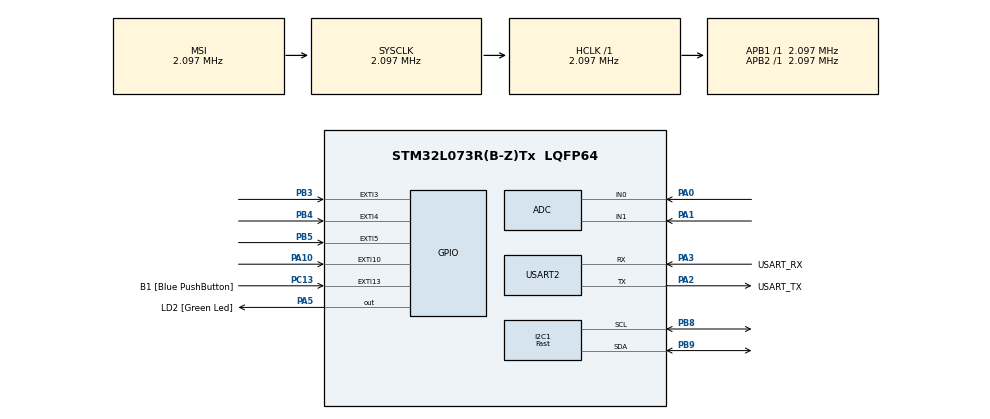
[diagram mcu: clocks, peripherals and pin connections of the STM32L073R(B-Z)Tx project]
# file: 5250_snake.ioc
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I2C1.I2C_Speed_Mode=I2C_Fast
I2C1.Timing=0x00000000
Mcu.Family=STM32L0
Mcu.Name=STM32L073R(B-Z)Tx
Mcu.Package=LQFP64
NVIC.EXTI2_3_IRQn=true\:0\:0\:false\:false\:true\:true\:true\:true
NVIC.EXTI4_15_IRQn=true\:0\:0\:false\:false\:true\:true\:true\:true
PA0.Signal=SharedAnalog_PA0
PA1.Mode=IN1
PA1.Signal=ADC_IN1
PA10.GPIO_ModeDefaultEXTI=GPIO_MODE_IT_RISING
PA10.Signal=GPXTI10
PA13.GPIO_Label=TMS
PA13.Mode=Serial_Wire
PA13.Signal=SYS_SWDIO
PA14.GPIO_Label=TCK
PA14.Mode=Serial_Wire
PA14.Signal=SYS_SWCLK
PA2.GPIO_Label=USART_TX
PA2.Mode=Asynchronous
PA2.Signal=USART2_TX
PA3.GPIO_Label=USART_RX
PA3.Mode=Asynchronous
PA3.Signal=USART2_RX
PA5.GPIO_Label=LD2 [Green Led]
PA5.Signal=GPIO_Output
PB3.Signal=GPXTI3
PB4.Signal=GPXTI4
PB5.Signal=GPXTI5
PB8.GPIO_Pu=GPIO_NOPULL
PB8.Mode=I2C
PB8.Signal=I2C1_SCL
PB9.GPIO_Pu=GPIO_NOPULL
PB9.Mode=I2C
PB9.Signal=I2C1_SDA
PC13.GPIO_Label=B1 [Blue PushButton]
PC13.GPIO_ModeDefaultEXTI=GPIO_MODE_IT_FALLING
PC13.Signal=GPXTI13
PC14-OSC32_IN.Mode=LSE-External-Oscillator
PC14-OSC32_IN.Signal=RCC_OSC32_IN
PC15-OSC32_OUT.Mode=LSE-External-Oscillator
PC15-OSC32_OUT.Signal=RCC_OSC32_OUT
PH0-OSC_IN.GPIO_Label=MCO
PH0-OSC_IN.Mode=HSE-External-Clock-Source
PH0-OSC_IN.Signal=RCC_OSC_IN
ProjectManager.HeapSize=0x200
ProjectManager.StackSize=0x400
ProjectManager.TargetToolchain=STM32CubeIDE
RCC.AHBFreq_Value=2097000
RCC.APB1Freq_Value=2097000
RCC.APB1TimFreq_Value=2097000
RCC.APB2Freq_Value=2097000
RCC.APB2TimFreq_Value=2097000
RCC.HSE_VALUE=8000000
RCC.HSI16_VALUE=16000000
RCC.HSI48_VALUE=48000000
RCC.HSI_VALUE=16000000
RCC.MSI_VALUE=2097000
RCC.SYSCLKFreq_VALUE=2097000
RCC.VCOOutputFreq_Value=48000000
SH.SharedAnalog_PA0.0=GPIO_Analog
SH.SharedAnalog_PA0.1=ADC_IN0,IN0
USART2.VirtualMode-Asynchronous=VM_ASYNC
board=NUCLEO-L073RZ

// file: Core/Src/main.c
#include "main.h"

/* USER CODE BEGIN Includes */
#include "ssd1306.h"
#include "ssd1306_tests.h"
#include <stdlib.h>
#include <stdbool.h>

ADC_HandleTypeDef hadc;

I2C_HandleTypeDef hi2c1;

UART_HandleTypeDef huart2;

void SystemClock_Config(void);
static void MX_GPIO_Init(void);
static void MX_USART2_UART_Init(void);
static void MX_I2C1_Init(void);
static void MX_ADC_Init(void);

/* USER CODE BEGIN 0 */
#define SNAKE_MAX_LENGTH 100
#define SNAKE_START_LENGTH 5
#define FOOD_SYMBOL 0xFF
#define SNAKE_SYMBOL 0xFF
#define EMPTY_SYMBOL 0x00

#define GAME_AREA_X_MIN 2
#define GAME_AREA_Y_MIN 2
#define GAME_AREA_X_MAX 126
#define GAME_AREA_Y_MAX 62
#define GRID_CELL_SIZE 4
#define GRID_WIDTH ((GAME_AREA_X_MAX - GAME_AREA_X_MIN) / GRID_CELL_SIZE)
#define GRID_HEIGHT ((GAME_AREA_Y_MAX - GAME_AREA_Y_MIN) / GRID_CELL_SIZE)

volatile int snake_direction_x = 0;
volatile int snake_direction_y = 0;

typedef struct {
    uint8_t x;
    uint8_t y;
} Point;

typedef struct {
    Point body[SNAKE_MAX_LENGTH];
    uint16_t length;
    Point direction;
} Snake;

typedef struct {
    Point position;
    bool isEaten;
} Food;

/* Function declarations */
void initializeGame(Snake* snake, Food* food);
void resetGame(Snake* snake, Food* food);
void updateGame(Snake* snake, Food* food);
void renderGame(const Snake* snake, const Food* food);
bool checkCollision(const Snake* snake);
void generateFood(Food* food, const Snake* snake);
void moveSnake(Snake* snake);
bool checkFoodCollision(Snake* snake, Food* food);
bool checkSelfCollision(const Snake* snake);

void updateGame(Snake* snake, Food* food);
/* USER CODE END 0 */

int main(void)
{
  HAL_Init();

  SystemClock_Config();
  MX_GPIO_Init();
  MX_USART2_UART_Init();
  MX_I2C1_Init();
  MX_ADC_Init();
  ssd1306_Init();
  Snake snake;
  Food food;
  initializeGame(&snake, &food);

  while (1) {
          updateGame(&snake, &food);
          if (checkCollision(&snake)) {
              // Game over logic here
              ssd1306_Fill(Black);
              ssd1306_SetCursor(10, 26);
              ssd1306_WriteString("Game Over!", Font_11x18, White);
              ssd1306_UpdateScreen();
              HAL_Delay(2000); // Wait 5 seconds before resetting
              resetGame(&snake, &food); // Reset the game
              continue;
          }
          renderGame(&snake, &food);
          HAL_Delay(200); // Game speed
      }
}

void initializeGame(Snake* snake, Food* food) {
    // Initialize the snake in the middle of the screen
    snake->length = SNAKE_START_LENGTH;
    for (int i = 0; i < snake->length; i++) {
        snake->body[i].x = SSD1306_WIDTH / 2;
        snake->body[i].y = SSD1306_HEIGHT / 2 + i;
    }
    snake->direction.x = 0;
    snake->direction.y = -1; // Moving upwards

    // Initialize the food
    generateFood(food, snake);
}

void resetGame(Snake* snake, Food* food) {
    // Reinitialize the snake in the middle of the screen
    snake->length = SNAKE_START_LENGTH;
    for (int i = 0; i < snake->length; i++) {
        snake->body[i].x = 62;
        snake->body[i].y = 30 + i;
    }
    snake->direction.x = 0;
    snake->direction.y = -1; // Moving upwards

    // Reinitialize the food
    generateFood(food, snake);
}

void updateGame(Snake* snake, Food* food) {
    // Update direction based on global variables
    if (snake_direction_x != 0 || snake_direction_y != 0) {
        snake->direction.x = snake_direction_x;
        snake->direction.y = snake_direction_y;

        // Reset direction variables
        snake_direction_x = 0;
        snake_direction_y = 0;
    }

    moveSnake(snake);
    if (checkFoodCollision(snake, food)) {
        generateFood(food, snake);
    }
}

void renderGame(const Snake* snake, const Food* food) {
    ssd1306_Fill(Black);
    ssd1306_DrawRectangle(0,0,127,63,White);

    // Render the food as a 2x2 rectangle
    ssd1306_FillRectangle(food->position.x, food->position.y, food->position.x + 3, food->position.y + 3, White);

    // Render each segment of the snake as a 2x2 rectangle
    for (int i = 0; i < snake->length; i++) {
        ssd1306_FillRectangle(snake->body[i].x, snake->body[i].y, snake->body[i].x + 3, snake->body[i].y + 3, White);
    }
    ssd1306_UpdateScreen();
}

bool checkCollision(const Snake* snake) {
    // Check for collision with walls
    Point head = snake->body[0];
    if (head.x >= SSD1306_WIDTH || head.x < 0 || head.y >= SSD1306_HEIGHT || head.y < 0) {
        return true;
    }
    // Check for collision with self
    return checkSelfCollision(snake);
}

void generateFood(Food* food, const Snake* snake) {
    bool collision;
    do {
        collision = false;

        // Generate food in grid coordinates within game area
        food->position.x = GAME_AREA_X_MIN + (rand() % GRID_WIDTH) * GRID_CELL_SIZE;
        food->position.y = GAME_AREA_Y_MIN + (rand() % GRID_HEIGHT) * GRID_CELL_SIZE;

        // Check collision with snake
        // ...
    } while (collision);

    food->isEaten = false;
}

void moveSnake(Snake* snake) {
	Point newHead = {
	        .x = snake->body[0].x + (snake->direction.x * GRID_CELL_SIZE),
	        .y = snake->body[0].y + (snake->direction.y * GRID_CELL_SIZE)
	    };

	    // Restrict new head position within game area
	    if (newHead.x < GAME_AREA_X_MIN || newHead.x >= GAME_AREA_X_MAX ||
	        newHead.y < GAME_AREA_Y_MIN || newHead.y >= GAME_AREA_Y_MAX) {
	        // Handle collision or reset game
	        // ...
	    }
    // Shift the body
    for (int i = snake->length - 1; i > 0; i--) {
        snake->body[i] = snake->body[i - 1];
    }
    // Set new head
    snake->body[0] = newHead;
}

bool checkFoodCollision(Snake* snake, Food* food) {
    if (snake->body[0].x == food->position.x && snake->body[0].y == food->position.y) {
        food->isEaten = true;
        snake->length++;
        return true;
    }
    return false;
}

bool checkSelfCollision(const Snake* snake) {
    Point head = snake->body[0];
    for (int i = 1; i < snake->length; i++) {
        if (head.x == snake->body[i].x && head.y == snake->body[i].y) {
            return true;
        }
    }
    return false;
}

void SystemClock_Config(void)
{
  RCC_OscInitTypeDef RCC_OscInitStruct = {0};
  RCC_ClkInitTypeDef RCC_ClkInitStruct = {0};
  RCC_PeriphCLKInitTypeDef PeriphClkInit = {0};

  /** Configure the main internal regulator output voltage
  */
  __HAL_PWR_VOLTAGESCALING_CONFIG(PWR_REGULATOR_VOLTAGE_SCALE1);

  /** Initializes the RCC Oscillators according to the specified parameters
  * in the RCC_OscInitTypeDef structure.
  */
  RCC_OscInitStruct.OscillatorType = RCC_OSCILLATORTYPE_MSI;
  RCC_OscInitStruct.MSIState = RCC_MSI_ON;
  RCC_OscInitStruct.MSICalibrationValue = 0;
  RCC_OscInitStruct.MSIClockRange = RCC_MSIRANGE_5;
  RCC_OscInitStruct.PLL.PLLState = RCC_PLL_NONE;
  if (HAL_RCC_OscConfig(&RCC_OscInitStruct) != HAL_OK)
  {
    Error_Handler();
  }

  /** Initializes the CPU, AHB and APB buses clocks
  */
  RCC_ClkInitStruct.ClockType = RCC_CLOCKTYPE_HCLK|RCC_CLOCKTYPE_SYSCLK
                              |RCC_CLOCKTYPE_PCLK1|RCC_CLOCKTYPE_PCLK2;
  RCC_ClkInitStruct.SYSCLKSource = RCC_SYSCLKSOURCE_MSI;
  RCC_ClkInitStruct.AHBCLKDivider = RCC_SYSCLK_DIV1;
  RCC_ClkInitStruct.APB1CLKDivider = RCC_HCLK_DIV1;
  RCC_ClkInitStruct.APB2CLKDivider = RCC_HCLK_DIV1;

  if (HAL_RCC_ClockConfig(&RCC_ClkInitStruct, FLASH_LATENCY_0) != HAL_OK)
  {
    Error_Handler();
  }
  PeriphClkInit.PeriphClockSelection = RCC_PERIPHCLK_USART2|RCC_PERIPHCLK_I2C1;
  PeriphClkInit.Usart2ClockSelection = RCC_USART2CLKSOURCE_PCLK1;
  PeriphClkInit.I2c1ClockSelection = RCC_I2C1CLKSOURCE_PCLK1;
  if (HAL_RCCEx_PeriphCLKConfig(&PeriphClkInit) != HAL_OK)
  {
    Error_Handler();
  }
}

static void MX_ADC_Init(void)
{

  ADC_ChannelConfTypeDef sConfig = {0};

  /** Configure the global features of the ADC (Clock, Resolution, Data Alignment and number of conversion)
  */
  hadc.Instance = ADC1;
  hadc.Init.OversamplingMode = DISABLE;
  hadc.Init.ClockPrescaler = ADC_CLOCK_SYNC_PCLK_DIV1;
  hadc.Init.Resolution = ADC_RESOLUTION_12B;
  hadc.Init.SamplingTime = ADC_SAMPLETIME_1CYCLE_5;
  hadc.Init.ScanConvMode = ADC_SCAN_DIRECTION_FORWARD;
  hadc.Init.DataAlign = ADC_DATAALIGN_RIGHT;
  hadc.Init.ContinuousConvMode = DISABLE;
  hadc.Init.DiscontinuousConvMode = DISABLE;
  hadc.Init.ExternalTrigConvEdge = ADC_EXTERNALTRIGCONVEDGE_NONE;
  hadc.Init.ExternalTrigConv = ADC_SOFTWARE_START;
  hadc.Init.DMAContinuousRequests = DISABLE;
  hadc.Init.EOCSelection = ADC_EOC_SINGLE_CONV;
  hadc.Init.Overrun = ADC_OVR_DATA_PRESERVED;
  hadc.Init.LowPowerAutoWait = DISABLE;
  hadc.Init.LowPowerFrequencyMode = ENABLE;
  hadc.Init.LowPowerAutoPowerOff = DISABLE;
  if (HAL_ADC_Init(&hadc) != HAL_OK)
  {
    Error_Handler();
  }

  /** Configure for the selected ADC regular channel to be converted.
  */
  sConfig.Channel = ADC_CHANNEL_0;
  sConfig.Rank = ADC_RANK_CHANNEL_NUMBER;
  if (HAL_ADC_ConfigChannel(&hadc, &sConfig) != HAL_OK)
  {
    Error_Handler();
  }

  /** Configure for the selected ADC regular channel to be converted.
  */
  sConfig.Channel = ADC_CHANNEL_1;
  if (HAL_ADC_ConfigChannel(&hadc, &sConfig) != HAL_OK)
  {
    Error_Handler();
  }

}

static void MX_I2C1_Init(void)
{

  hi2c1.Instance = I2C1;
  hi2c1.Init.Timing = 0x00000000;
  hi2c1.Init.OwnAddress1 = 0;
  hi2c1.Init.AddressingMode = I2C_ADDRESSINGMODE_7BIT;
  hi2c1.Init.DualAddressMode = I2C_DUALADDRESS_DISABLE;
  hi2c1.Init.OwnAddress2 = 0;
  hi2c1.Init.OwnAddress2Masks = I2C_OA2_NOMASK;
  hi2c1.Init.GeneralCallMode = I2C_GENERALCALL_DISABLE;
  hi2c1.Init.NoStretchMode = I2C_NOSTRETCH_DISABLE;
  if (HAL_I2C_Init(&hi2c1) != HAL_OK)
  {
    Error_Handler();
  }

  /** Configure Analogue filter
  */
  if (HAL_I2CEx_ConfigAnalogFilter(&hi2c1, I2C_ANALOGFILTER_ENABLE) != HAL_OK)
  {
    Error_Handler();
  }

  /** Configure Digital filter
  */
  if (HAL_I2CEx_ConfigDigitalFilter(&hi2c1, 0) != HAL_OK)
  {
    Error_Handler();
  }

}

static void MX_USART2_UART_Init(void)
{

  huart2.Instance = USART2;
  huart2.Init.BaudRate = 115200;
  huart2.Init.WordLength = UART_WORDLENGTH_8B;
  huart2.Init.StopBits = UART_STOPBITS_1;
  huart2.Init.Parity = UART_PARITY_NONE;
  huart2.Init.Mode = UART_MODE_TX_RX;
  huart2.Init.HwFlowCtl = UART_HWCONTROL_NONE;
  huart2.Init.OverSampling = UART_OVERSAMPLING_16;
  huart2.Init.OneBitSampling = UART_ONE_BIT_SAMPLE_DISABLE;
  huart2.AdvancedInit.AdvFeatureInit = UART_ADVFEATURE_NO_INIT;
  if (HAL_UART_Init(&huart2) != HAL_OK)
  {
    Error_Handler();
  }

}

static void MX_GPIO_Init(void)
{
  GPIO_InitTypeDef GPIO_InitStruct = {0};

  /* GPIO Ports Clock Enable */
  __HAL_RCC_GPIOC_CLK_ENABLE();
  __HAL_RCC_GPIOH_CLK_ENABLE();
  __HAL_RCC_GPIOA_CLK_ENABLE();
  __HAL_RCC_GPIOB_CLK_ENABLE();

  /*Configure GPIO pin Output Level */
  HAL_GPIO_WritePin(LD2_GPIO_Port, LD2_Pin, GPIO_PIN_RESET);

  /*Configure GPIO pin : B1_Pin */
  GPIO_InitStruct.Pin = B1_Pin;
  GPIO_InitStruct.Mode = GPIO_MODE_IT_FALLING;
  GPIO_InitStruct.Pull = GPIO_NOPULL;
  HAL_GPIO_Init(B1_GPIO_Port, &GPIO_InitStruct);

  /*Configure GPIO pin : LD2_Pin */
  GPIO_InitStruct.Pin = LD2_Pin;
  GPIO_InitStruct.Mode = GPIO_MODE_OUTPUT_PP;
  GPIO_InitStruct.Pull = GPIO_NOPULL;
  GPIO_InitStruct.Speed = GPIO_SPEED_FREQ_LOW;
  HAL_GPIO_Init(LD2_GPIO_Port, &GPIO_InitStruct);

  /*Configure GPIO pin : PA10 */
  GPIO_InitStruct.Pin = GPIO_PIN_10;
  GPIO_InitStruct.Mode = GPIO_MODE_IT_RISING;
  GPIO_InitStruct.Pull = GPIO_NOPULL;
  HAL_GPIO_Init(GPIOA, &GPIO_InitStruct);

  /*Configure GPIO pins : PB3 PB4 PB5 */
  GPIO_InitStruct.Pin = GPIO_PIN_3|GPIO_PIN_4|GPIO_PIN_5;
  GPIO_InitStruct.Mode = GPIO_MODE_IT_RISING;
  GPIO_InitStruct.Pull = GPIO_NOPULL;
  HAL_GPIO_Init(GPIOB, &GPIO_InitStruct);

  /* EXTI interrupt init*/
  HAL_NVIC_SetPriority(EXTI2_3_IRQn, 0, 0);
  HAL_NVIC_EnableIRQ(EXTI2_3_IRQn);

  HAL_NVIC_SetPriority(EXTI4_15_IRQn, 0, 0);
  HAL_NVIC_EnableIRQ(EXTI4_15_IRQn);

}

/* USER CODE BEGIN 4 */

void EXTI2_3_IRQHandler(void)
{
    if (__HAL_GPIO_EXTI_GET_IT(GPIO_PIN_3) != RESET) {
            __HAL_GPIO_EXTI_CLEAR_IT(GPIO_PIN_3);

       snake_direction_x = 1; // Right
       snake_direction_y = 0;
    }
}

void EXTI4_15_IRQHandler(void) {
    if (__HAL_GPIO_EXTI_GET_IT(GPIO_PIN_10) != RESET) {
        __HAL_GPIO_EXTI_CLEAR_IT(GPIO_PIN_10);
        snake_direction_x = 0;
        snake_direction_y = -1; // Up
    }

    if (__HAL_GPIO_EXTI_GET_IT(GPIO_PIN_4) != RESET) {
        __HAL_GPIO_EXTI_CLEAR_IT(GPIO_PIN_4);
        snake_direction_x = -1;
        snake_direction_y = 0; // Left
    }

    if (__HAL_GPIO_EXTI_GET_IT(GPIO_PIN_5) != RESET) {
        __HAL_GPIO_EXTI_CLEAR_IT(GPIO_PIN_5);
        snake_direction_x = 0;
        snake_direction_y = 1; // Down
    }
}

/* USER CODE END 4 */

void Error_Handler(void)
{
  __disable_irq();
  while (1)
  {
  }
}
